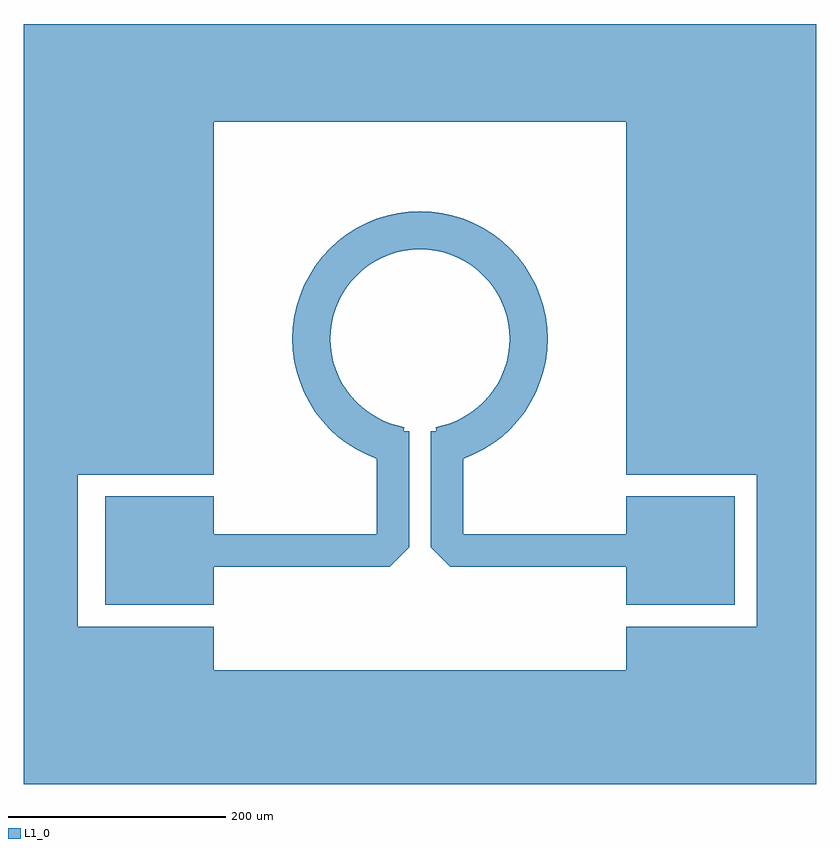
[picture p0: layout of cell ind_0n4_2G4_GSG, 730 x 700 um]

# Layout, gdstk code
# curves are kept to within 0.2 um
import gdstk
lib = gdstk.Library(unit=1e-6, precision=1e-10)
def R(c, l, rs):  # rectangles x0, y0, x1, y1
    for r in rs: c.add(gdstk.rectangle(r[:2], r[2:], *l))
def A(c, l, x, y, w, h, nx, ny, dx, dy):  # array of equal rectangles
    R(c, l, [(x+i*dx, y+j*dy, x+i*dx+w, y+j*dy+h) for i in range(nx) for j in range(ny)])
def P(c, l, *ps):  # polygons
    for p in ps: c.add(gdstk.Polygon(p, *l))
L1_0 = (1, 0)

ind_0n4_2g4_gsg = lib.new_cell('ind_0n4_2G4_GSG')
A(ind_0n4_2g4_gsg, L1_0, -550, -365, 100, 100, 1, 3, 0, 120)
A(ind_0n4_2g4_gsg, L1_0, -70, -365, 100, 100, 1, 3, 0, 120)
R(ind_0n4_2g4_gsg, L1_0, [(-625,-410,105,-305), (-550,-410,-450,-265), (-70,-410,30,-265), (-625,-320,-575,-80), (-595,-315,-530,-265), (15,-315,80,-265), (50,-315,105,-75), (-300,-135,-270,-85), (-250,-135,-220,-85), (-625,-125,-450,290), (-70,-125,105,290), (-550,200,35,290)])
P(ind_0n4_2g4_gsg, L1_0, [(-177.5,0),(-142.5,0.0001),(-142.9471,-10.2408),(-144.2851,-20.4037),(-146.5037,-30.4112),(-149.5861,-40.1874),(-153.5088,-49.6576),(-158.242,-58.75),(-163.7496,-67.3952),(-169.9898,-75.5275),(-176.9149,-83.085),(-184.4724,-90.0102),(-192.6047,-96.2504),(-201.25,-101.758),(-210.3423,-106.4912),(-219.8126,-110.4139),(-229.5887,-113.4963),(-239.5964,-115.7149),(-245.6741,-81.2467),(-238.6474,-79.6888),(-231.7833,-77.5246),(-225.134,-74.7704),(-218.75,-71.4471),(-212.6799,-67.58),(-206.97,-63.1986),(-201.6637,-58.3363),(-196.8013,-53.03),(-192.42,-47.32),(-188.5529,-41.25),(-185.2296,-34.866),(-182.4754,-28.2166),(-180.3111,-21.3526),(-178.7534,-14.326),(-177.8139,-7.1903)],
  [(-342.5,0),(-377.5,0.0001),(-377.0529,-10.2408),(-375.7149,-20.4037),(-373.4963,-30.4112),(-370.4139,-40.1874),(-366.4912,-49.6576),(-361.758,-58.75),(-356.2504,-67.3952),(-350.0102,-75.5275),(-343.0851,-83.085),(-335.5276,-90.0102),(-327.3953,-96.2504),(-318.75,-101.758),(-309.6577,-106.4912),(-300.1874,-110.4139),(-290.4113,-113.4963),(-280.4036,-115.7149),(-274.3259,-81.2467),(-281.3526,-79.6888),(-288.2167,-77.5246),(-294.866,-74.7704),(-301.25,-71.4471),(-307.3201,-67.58),(-313.03,-63.1986),(-318.3363,-58.3363),(-323.1987,-53.03),(-327.58,-47.32),(-331.4471,-41.25),(-334.7704,-34.866),(-337.5246,-28.2166),(-339.6889,-21.3526),(-341.2466,-14.326),(-342.1861,-7.1903)],
  [(-260,82.5),(-259.9999,117.5),(-270.2408,117.0529),(-280.4037,115.7149),(-290.4112,113.4963),(-300.1874,110.4139),(-309.6576,106.4912),(-318.75,101.758),(-327.3952,96.2504),(-335.5275,90.0102),(-343.085,83.085),(-350.0102,75.5275),(-356.2504,67.3952),(-361.758,58.75),(-366.4912,49.6576),(-370.4139,40.1874),(-373.4963,30.4112),(-375.7149,20.4037),(-377.0529,10.2408),(-377.5,-0.0001),(-342.5,-0.0001),(-342.1861,7.1903),(-341.2466,14.326),(-339.6889,21.3526),(-337.5246,28.2167),(-334.7704,34.866),(-331.4471,41.25),(-327.58,47.3201),(-323.1987,53.03),(-318.3363,58.3363),(-313.03,63.1987),(-307.3201,67.58),(-301.25,71.4471),(-294.866,74.7704),(-288.2167,77.5246),(-281.3526,79.6889),(-274.326,81.2466),(-267.1903,82.1861)],
  [(-177.5,0),(-142.5,-0.0001),(-142.9471,10.2408),(-144.2851,20.4037),(-146.5037,30.4112),(-149.5861,40.1874),(-153.5088,49.6576),(-158.242,58.75),(-163.7496,67.3952),(-169.9898,75.5275),(-176.915,83.085),(-184.4725,90.0102),(-192.6048,96.2504),(-201.25,101.758),(-210.3424,106.4912),(-219.8126,110.4139),(-229.5888,113.4963),(-239.5963,115.7149),(-249.7592,117.0529),(-260.0001,117.5),(-260.0001,82.5),(-252.8097,82.1861),(-245.674,81.2466),(-238.6474,79.6889),(-231.7833,77.5246),(-225.134,74.7704),(-218.75,71.4471),(-212.6799,67.58),(-206.97,63.1987),(-201.6637,58.3363),(-196.8013,53.03),(-192.42,47.3201),(-188.5529,41.25),(-185.2296,34.866),(-182.4754,28.2167),(-180.3111,21.3526),(-178.7534,14.326),(-177.8139,7.1903)],
  [(-450,-210),(-288,-210),(-270,-192),(-270,-135),(-300,-135),(-300,-180),(-450,-180)],
  [(-70,-180),(-220,-180),(-220,-135),(-250,-135),(-250,-192),(-232,-210),(-70,-210)])

lib.write_gds('ind_0n4_2G4_GSG.gds')
